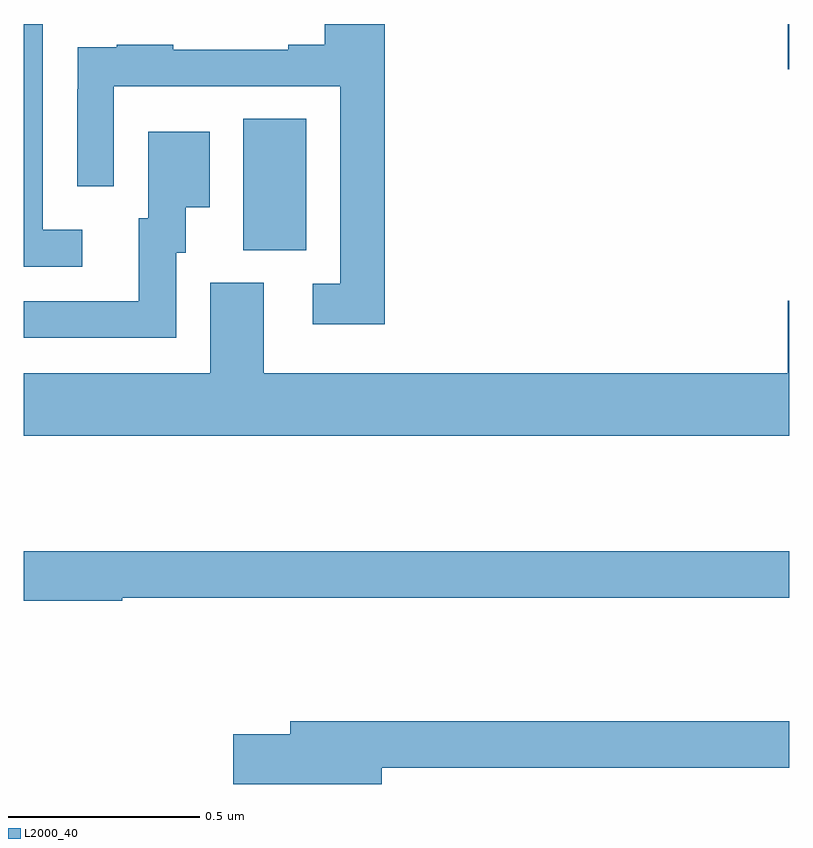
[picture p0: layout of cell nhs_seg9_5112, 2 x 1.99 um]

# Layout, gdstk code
import gdstk
lib = gdstk.Library(unit=1e-6, precision=1e-09)
def R(c, l, rs):  # rectangles x0, y0, x1, y1
    for r in rs: c.add(gdstk.rectangle(r[:2], r[2:], *l))
def P(c, l, *ps):  # polygons
    for p in ps: c.add(gdstk.Polygon(p, *l))
L2000_40 = (2000, 40)

nhs_seg9_5112 = lib.new_cell('nhs_seg9_5112')
R(nhs_seg9_5112, L2000_40, [(175.574,1192.909,175.738,1193.252), (176.996,1193.382,177,1193.5)])
P(nhs_seg9_5112, L2000_40, [(175.943,1193.5),(175.787,1193.5),(175.787,1193.446),(175.691,1193.446),(175.691,1193.433),(175.391,1193.433),(175.391,1193.446),(175.243,1193.446),(175.243,1193.439),(175.141,1193.439),(175.141,1193.33),(175.14,1193.33),(175.14,1193.076),(175.236,1193.076),(175.236,1193.337),(175.827,1193.337),(175.827,1192.821),(175.755,1192.821),(175.755,1192.716),(175.943,1192.716)],
  [(175.153,1192.962),(175.05,1192.962),(175.05,1193.5),(175,1193.5),(175,1192.866),(175.153,1192.866)],
  [(175.398,1192.902),(175.423,1192.902),(175.423,1193.021),(175.486,1193.021),(175.486,1193.218),(175.325,1193.218),(175.325,1192.992),(175.301,1192.992),(175.301,1192.776),(175,1192.776),(175,1192.68),(175.398,1192.68)],
  [(177,1192.777),(176.996,1192.777),(176.996,1192.588),(175.627,1192.588),(175.627,1192.824),(175.487,1192.824),(175.487,1192.588),(175,1192.588),(175,1192.424),(177,1192.424)],
  [(175.258,1192.002),(177,1192.002),(177,1192.123),(175,1192.123),(175,1191.994),(175.258,1191.994)],
  [(175.936,1191.558),(177,1191.558),(177,1191.679),(175.697,1191.679),(175.697,1191.645),(175.548,1191.645),(175.548,1191.515),(175.936,1191.515)])

lib.write_gds('nhs_seg9_5112.gds')
